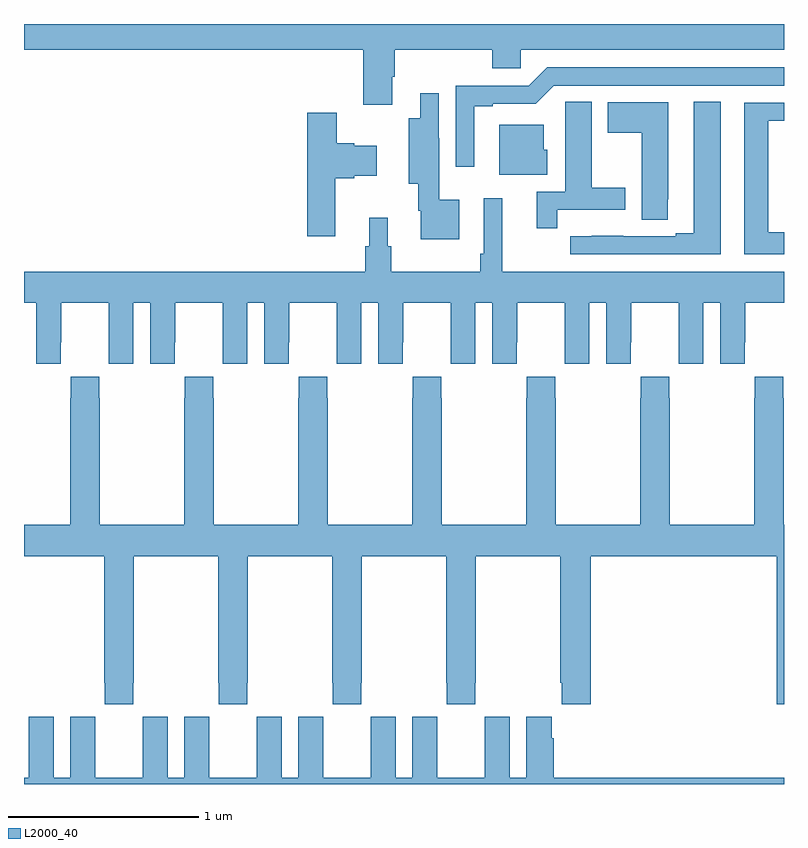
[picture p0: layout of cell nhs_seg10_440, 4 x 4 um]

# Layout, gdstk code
import gdstk
lib = gdstk.Library(unit=1e-6, precision=1e-09)
def P(c, l, *ps):  # polygons
    for p in ps: c.add(gdstk.Polygon(p, *l))
L2000_40 = (2000, 40)

nhs_seg10_440 = lib.new_cell('nhs_seg10_440')
P(nhs_seg10_440, L2000_40, [(134.938,1252.222),(134.951,1252.222),(134.951,1252.364),(135.464,1252.364),(135.464,1252.266),(135.615,1252.266),(135.615,1252.364),(137,1252.364),(137,1252.5),(133,1252.5),(133,1252.364),(134.786,1252.364),(134.786,1252.074),(134.938,1252.074)],
  [(135.37,1252.068),(135.466,1252.068),(135.466,1252.08),(135.693,1252.08),(135.789,1252.176),(137,1252.176),(137,1252.272),(135.753,1252.272),(135.657,1252.176),(135.273,1252.176),(135.273,1251.75),(135.37,1251.75)],
  [(135.292,1251.574),(135.186,1251.574),(135.186,1251.899),(135.184,1251.899),(135.184,1252.135),(135.086,1252.135),(135.086,1252.003),(135.026,1252.003),(135.026,1251.659),(135.075,1251.659),(135.075,1251.518),(135.087,1251.518),(135.087,1251.368),(135.292,1251.368)],
  [(135.806,1251.522),(136.165,1251.522),(136.165,1251.639),(135.988,1251.639),(135.988,1252.091),(135.849,1252.091),(135.849,1251.98),(135.848,1251.98),(135.848,1251.618),(135.698,1251.618),(135.698,1251.426),(135.806,1251.426)],
  [(136.666,1252.091),(136.526,1252.091),(136.526,1251.399),(136.43,1251.399),(136.43,1251.384),(136.154,1251.384),(136.154,1251.385),(135.988,1251.385),(135.988,1251.384),(135.876,1251.384),(135.876,1251.288),(136.666,1251.288)],
  [(136.389,1251.577),(136.39,1251.577),(136.39,1252.087),(136.073,1252.087),(136.073,1251.928),(136.25,1251.928),(136.25,1251.469),(136.389,1251.469)],
  [(137,1251.404),(136.918,1251.404),(136.918,1251.99),(137,1251.99),(137,1252.086),(136.79,1252.086),(136.79,1251.288),(137,1251.288)],
  [(134.638,1251.689),(134.739,1251.689),(134.739,1251.701),(134.857,1251.701),(134.857,1251.859),(134.739,1251.859),(134.739,1251.872),(134.646,1251.872),(134.646,1252.033),(134.492,1252.033),(134.492,1251.384),(134.638,1251.384)],
  [(135.754,1251.837),(135.736,1251.837),(135.736,1251.97),(135.5,1251.97),(135.5,1251.707),(135.754,1251.707)],
  [(135.518,1251.583),(135.42,1251.583),(135.42,1251.292),(135.4,1251.292),(135.4,1251.196),(134.933,1251.196),(134.933,1251.33),(134.914,1251.33),(134.914,1251.481),(134.816,1251.481),(134.816,1251.33),(134.797,1251.33),(134.797,1251.196),(133,1251.196),(133,1251.032),(133.064,1251.032),(133.064,1250.712),(133.194,1250.712),(133.194,1250.824),(133.195,1250.824),(133.195,1251.032),(133.445,1251.032),(133.445,1250.824),(133.446,1250.824),(133.446,1250.712),(133.576,1250.712),(133.576,1251.032),(133.664,1251.032),(133.664,1250.712),(133.794,1250.712),(133.794,1250.824),(133.795,1250.824),(133.795,1251.032),(134.045,1251.032),(134.045,1250.824),(134.046,1250.824),(134.046,1250.712),(134.176,1250.712),(134.176,1251.032),(134.264,1251.032),(134.264,1250.712),(134.394,1250.712),(134.394,1250.824),(134.395,1250.824),(134.395,1251.032),(134.645,1251.032),(134.645,1250.824),(134.646,1250.824),(134.646,1250.712),(134.776,1250.712),(134.776,1251.032),(134.864,1251.032),(134.864,1250.712),(134.994,1250.712),(134.994,1250.824),(134.995,1250.824),(134.995,1251.032),(135.245,1251.032),(135.245,1250.824),(135.246,1250.824),(135.246,1250.712),(135.376,1250.712),(135.376,1251.032),(135.464,1251.032),(135.464,1250.712),(135.594,1250.712),(135.594,1250.824),(135.595,1250.824),(135.595,1251.032),(135.845,1251.032),(135.845,1250.824),(135.846,1250.824),(135.846,1250.712),(135.976,1250.712),(135.976,1251.032),(136.064,1251.032),(136.064,1250.712),(136.194,1250.712),(136.194,1250.824),(136.195,1250.824),(136.195,1251.032),(136.445,1251.032),(136.445,1250.824),(136.446,1250.824),(136.446,1250.712),(136.576,1250.712),(136.576,1251.032),(136.664,1251.032),(136.664,1250.712),(136.794,1250.712),(136.794,1250.824),(136.795,1250.824),(136.795,1251.032),(137,1251.032),(137,1251.196),(135.518,1251.196)],
  [(135.045,1250.644),(135.045,1250.531),(135.043,1250.531),(135.043,1249.864),(134.598,1249.864),(134.598,1250.531),(134.595,1250.531),(134.595,1250.644),(134.445,1250.644),(134.445,1250.531),(134.443,1250.531),(134.443,1249.864),(133.998,1249.864),(133.998,1250.531),(133.995,1250.531),(133.995,1250.644),(133.845,1250.644),(133.845,1250.531),(133.843,1250.531),(133.843,1249.864),(133.398,1249.864),(133.398,1250.531),(133.395,1250.531),(133.395,1250.644),(133.245,1250.644),(133.245,1250.531),(133.243,1250.531),(133.243,1249.864),(133,1249.864),(133,1249.7),(133.423,1249.7),(133.423,1249.033),(133.425,1249.033),(133.425,1248.921),(133.575,1248.921),(133.575,1249.033),(133.578,1249.033),(133.578,1249.7),(134.023,1249.7),(134.023,1249.033),(134.025,1249.033),(134.025,1248.921),(134.175,1248.921),(134.175,1249.033),(134.178,1249.033),(134.178,1249.7),(134.623,1249.7),(134.623,1249.033),(134.625,1249.033),(134.625,1248.921),(134.775,1248.921),(134.775,1249.033),(134.778,1249.033),(134.778,1249.7),(135.223,1249.7),(135.223,1249.033),(135.225,1249.033),(135.225,1248.921),(135.375,1248.921),(135.375,1249.033),(135.378,1249.033),(135.378,1249.7),(135.823,1249.7),(135.823,1249.033),(135.829,1249.033),(135.829,1248.921),(135.983,1248.921),(135.983,1249.7),(136.961,1249.7),(136.961,1248.921),(137,1248.921),(137,1249.864),(136.998,1249.864),(136.998,1250.531),(136.995,1250.531),(136.995,1250.644),(136.845,1250.644),(136.845,1250.531),(136.843,1250.531),(136.843,1249.864),(136.398,1249.864),(136.398,1250.531),(136.395,1250.531),(136.395,1250.644),(136.245,1250.644),(136.245,1250.531),(136.243,1250.531),(136.243,1249.864),(135.798,1249.864),(135.798,1250.531),(135.795,1250.531),(135.795,1250.644),(135.645,1250.644),(135.645,1250.531),(135.643,1250.531),(135.643,1249.864),(135.198,1249.864),(135.198,1250.531),(135.195,1250.531),(135.195,1250.644)],
  [(137,1248.532),(135.788,1248.532),(135.788,1248.74),(135.778,1248.74),(135.778,1248.853),(135.644,1248.853),(135.644,1248.532),(135.556,1248.532),(135.556,1248.853),(135.426,1248.853),(135.426,1248.74),(135.425,1248.74),(135.425,1248.532),(135.175,1248.532),(135.175,1248.74),(135.174,1248.74),(135.174,1248.853),(135.044,1248.853),(135.044,1248.532),(134.956,1248.532),(134.956,1248.853),(134.826,1248.853),(134.826,1248.74),(134.825,1248.74),(134.825,1248.532),(134.575,1248.532),(134.575,1248.74),(134.574,1248.74),(134.574,1248.853),(134.444,1248.853),(134.444,1248.532),(134.356,1248.532),(134.356,1248.853),(134.226,1248.853),(134.226,1248.74),(134.225,1248.74),(134.225,1248.532),(133.975,1248.532),(133.975,1248.74),(133.974,1248.74),(133.974,1248.853),(133.844,1248.853),(133.844,1248.532),(133.756,1248.532),(133.756,1248.853),(133.626,1248.853),(133.626,1248.74),(133.625,1248.74),(133.625,1248.532),(133.375,1248.532),(133.375,1248.74),(133.374,1248.74),(133.374,1248.853),(133.244,1248.853),(133.244,1248.532),(133.156,1248.532),(133.156,1248.853),(133.026,1248.853),(133.026,1248.74),(133.025,1248.74),(133.025,1248.532),(133,1248.532),(133,1248.5),(137,1248.5)])

lib.write_gds('nhs_seg10_440.gds')
